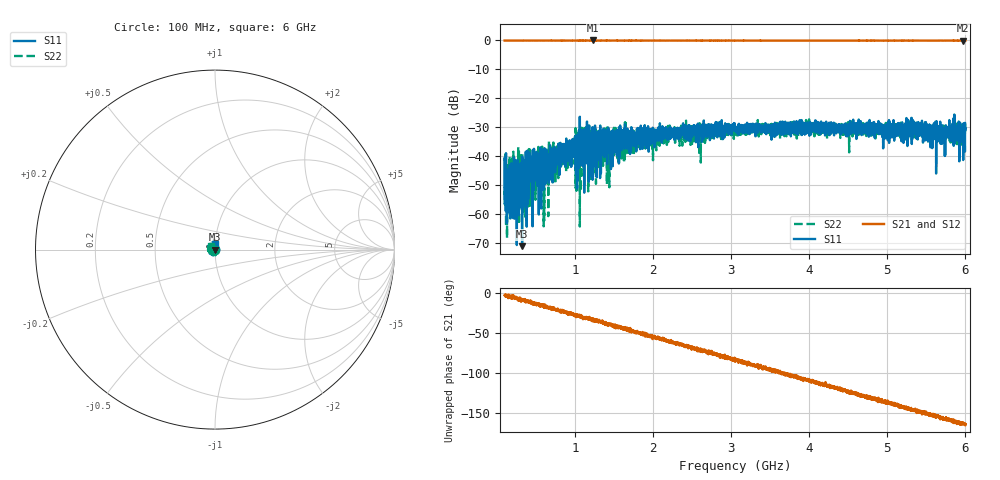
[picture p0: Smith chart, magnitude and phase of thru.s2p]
#  HZ  S  DB  R  50.0
! Rohde & Schwarz ZVL6 2Ports - Version 3.32 - 1303.6509k06 SN: 102097
! Date: 2024-06-28 18:58:19
! Data & Calibration Information:
! Trc1:S11(TOSM) Trc3:S21(TOSM) Trc2:S12(TOSM) Trc4:S22(TOSM)
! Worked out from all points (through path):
!   4001 points, 100 MHz to 6 GHz, reference 50 ohm
!   highest |S21| = 0.01 dB at 1.236 GHz (marker M1); lowest = -0.1 dB at 5.973 GHz (marker M2)
!   group delay of S21, straight-line fit = 76.2 ps
!   lowest |S11| = -71.2 dB at 324.2 MHz (marker M3), VSWR 1.00, Z = 50 - j0.023 ohm
!   |S11| at or under -10 dB: start of sweep to end of sweep
!   |S22| runs from -68.4 to -27.3 dB; largest |S21 - S12| = 0.092
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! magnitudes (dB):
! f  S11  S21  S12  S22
! 100 MHz  -56.3  0.0  0.0  -53.6
! 125.1 MHz  -48.3  0.0  0.0  -54.3
! 253.4 MHz  -49.1  0.0  0.0  -43.2
! 324.2 MHz  -71.2  0.0  0.0  -46.0
! 377.3 MHz  -45.0  0.0  0.0  -51.5
! 414.2 MHz  -41.2  0.0  0.0  -44.5
! 470.2 MHz  -51.9  0.0  0.0  -44.0
! 555.8 MHz  -42.6  0.0  0.0  -41.6
! 591.2 MHz  -41.4  0.0  0.0  -40.1
! 834.5 MHz  -35.8  0.0  0.0  -43.8
! 1.084 GHz  -40.7  0.0  -0.1  -42.5
! 1.115 GHz  -37.3  0.0  0.0  -34.5
! 1.172 GHz  -36.4  0.0  0.0  -38.7
! 1.236 GHz  -32.8  0.0  0.0  -45.8
! 1.458 GHz  -35.2  0.0  0.0  -38.6
! 1.513 GHz  -31.7  0.0  0.0  -32.6
! 2.068 GHz  -32.3  0.0  0.0  -30.8
! 3.05 GHz  -30.4  0.0  0.0  -30.6
! 4.034 GHz  -30.8  0.0  0.0  -29.0
! 5.018 GHz  -29.6  0.0  0.0  -32.0
! 5.973 GHz  -30.9  -0.1  -0.1  -33.3
! 6 GHz  -30.7  0.0  0.0  -31.1
